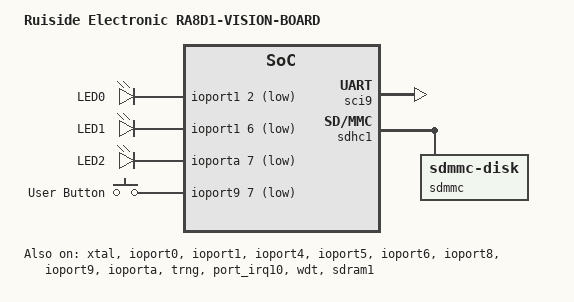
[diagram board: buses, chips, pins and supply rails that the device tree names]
/*
 * Copyright (c) 2025 Shan Pen <bricle031@gmail.com>
 * SPDX-License-Identifier: Apache-2.0
 */

/dts-v1/;

#include <renesas/ra/ra8/r7fa8d1bhecbd.dtsi>
#include <dt-bindings/gpio/gpio.h>
#include <dt-bindings/input/input-event-codes.h>
#include <zephyr/dt-bindings/memory-attr/memory-attr-arm.h>
#include <zephyr/dt-bindings/memory-controller/renesas,ra-sdram.h>
#include "ra8d1_vision_board-pinctrl.dtsi"

/ {
	model = "Ruiside Electronic RA8D1-VISION-BOARD";
	compatible = "ruiside,ra8d1-vision-board";

	chosen {
		zephyr,sram = &sram0;
		zephyr,flash = &flash0;
		zephyr,console = &uart9;
		zephyr,shell-uart = &uart9;
		zephyr,entropy = &trng;
		zephyr,flash-controller = &flash;
	};

	leds {
		compatible = "gpio-leds";

		led0: led0 {
			gpios = <&ioport1 2 GPIO_ACTIVE_LOW>;
			label = "LED0";
		};

		led1: led1 {
			gpios = <&ioport1 6 GPIO_ACTIVE_LOW>;
			label = "LED1";
		};

		led2: led2 {
			gpios = <&ioporta 7 GPIO_ACTIVE_LOW>;
			label = "LED2";
		};
	};

	buttons {
		compatible = "gpio-keys";

		user_button: button_0 {
			gpios = <&ioport9 7 GPIO_ACTIVE_LOW>;
			label = "User Button";
			zephyr,code = <INPUT_KEY_0>;
		};
	};

	sdram1: sdram@68000000 {
		compatible = "zephyr,memory-region", "mmio-sram";
		reg = <0x68000000 DT_SIZE_M(32)>;
		zephyr,memory-region = "SDRAM";
		status = "okay";
	};

	aliases {
		led0 = &led0;
		sw0 = &user_button;
		watchdog0 = &wdt;
		sdhc0 = &sdhc1;
	};
};

&xtal {
	clock-frequency = <DT_FREQ_M(20)>;
	mosel = <0>;
	#clock-cells = <0>;
	status = "okay";
};

&subclk {
	status = "okay";
};

&pll {
	status = "okay";

	pllp {
		status = "okay";
	};

	pllq {
		div = <4>;
		freq = <DT_FREQ_M(240)>;
		status = "okay";
	};

	pllr {
		status = "okay";
	};
};

&sciclk {
	clocks = <&pllp>;
	div = <4>;
	status = "okay";
};

&uclk {
	clocks = <&pllq>;
	div = <5>;
	status = "okay";
};

&ioport0 {
	status = "okay";
};

&ioport1 {
	status = "okay";
};

&ioport4 {
	status = "okay";
};

&ioport5 {
	status = "okay";
};

&ioport6 {
	status = "okay";
};

&ioport8 {
	status = "okay";
};

&ioport9 {
	status = "okay";
};

&ioporta {
	status = "okay";
};

&sci9 {
	pinctrl-0 = <&sci9_default>;
	pinctrl-names = "default";
	status = "okay";

	uart9: uart {
		current-speed = <115200>;
		status = "okay";
	};
};

&trng {
	status = "okay";
};

&flash1 {
	partitions {
		compatible = "fixed-partitions";
		#address-cells = <1>;
		#size-cells = <1>;

		storage_partition: partition@0 {
			label = "storage";
			reg = <0X0 DT_SIZE_K(12)>;
		};
	};
};

&port_irq10 {
	interrupts = <86 12>;
	status = "okay";
};

&sdram {
	pinctrl-0 = <&sdram_default>;
	pinctrl-names = "default";
	status = "okay";
	auto-refresh-interval = <SDRAM_AUTO_REFREDSH_INTERVEL_10CYCLES>;
	auto-refresh-count = <SDRAM_AUTO_REFREDSH_COUNT_8TIMES>;
	precharge-cycle-count = <SDRAM_AUTO_PRECHARGE_CYCLE_3CYCLES>;
	multiplex-addr-shift = "9-bit";
	edian-mode = "little-endian";
	continuous-access;
	bus-width = "16-bit";

	bank@0 {
		reg = <0>;
		renesas,ra-sdram-timing = <SDRAM_TRAS_4CYCLES
					   SDRAM_TRCD_2CYCLES
					   SDRAM_TRP_2CYCLES
					   SDRAM_TWR_2CYCLES
					   SDRAM_TCL_3CYCLES
					   937
					   SDRAM_TREFW_8CYCLES>;
	};
};

&sdhc1 {
	pinctrl-names = "default";
	interrupt-names = "accs", "card", "dma-req";
	interrupts = <60 12>, <61 12>, <62 12>;
	pinctrl-0 = <&sdhc1_default>;
	status = "okay";
	/delete-property/ card-detect;

	sdmmc {
		compatible = "zephyr,sdmmc-disk";
		disk-name = "SD";
		status = "okay";
	};
};

&wdt {
	status = "okay";
};
